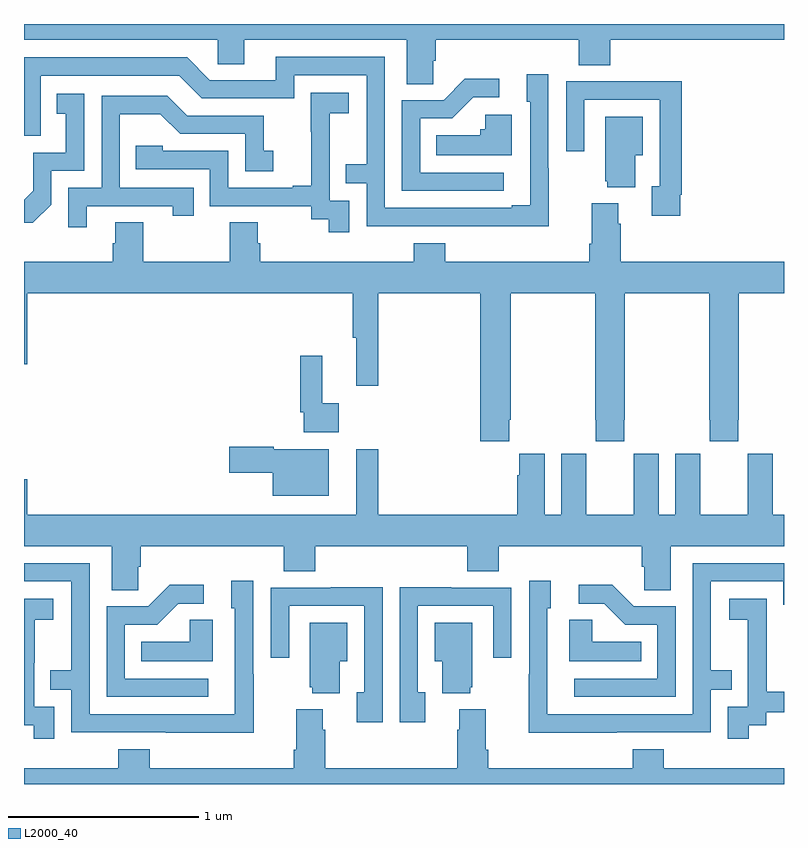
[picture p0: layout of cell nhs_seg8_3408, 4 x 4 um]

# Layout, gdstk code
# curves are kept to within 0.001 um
import gdstk
lib = gdstk.Library(unit=1e-6, precision=1e-09)
def P(c, l, *ps):  # polygons
    for p in ps: c.add(gdstk.Polygon(p, *l))
L2000_40 = (2000, 40)

nhs_seg8_3408 = lib.new_cell('nhs_seg8_3408')
P(nhs_seg8_3408, L2000_40, [(323.154,1133.707),(323.168,1133.707),(323.168,1133.816),(323.921,1133.816),(323.921,1133.683),(324.086,1133.683),(324.086,1133.816),(325,1133.816),(325,1133.9),(321,1133.9),(321,1133.816),(322.02,1133.816),(322.02,1133.689),(322.159,1133.689),(322.159,1133.816),(323.015,1133.816),(323.015,1133.584),(323.154,1133.584)],
  [(323.763,1133.141),(323.76,1133.141),(323.76,1133.635),(323.645,1133.635),(323.645,1133.49),(323.664,1133.49),(323.664,1132.945),(323.567,1132.945),(323.567,1132.932),(322.899,1132.932),(322.899,1133.727),(322.325,1133.727),(322.325,1133.604),(321.978,1133.604),(321.858,1133.724),(321,1133.724),(321,1133.313),(321.087,1133.313),(321.087,1133.628),(321.816,1133.628),(321.936,1133.508),(322.422,1133.508),(322.422,1133.631),(322.803,1133.631),(322.803,1133.162),(322.693,1133.162),(322.693,1133.061),(322.803,1133.061),(322.803,1132.836),(323.763,1132.835)],
  [(323.524,1133.118),(323.085,1133.118),(323.085,1133.403),(323.254,1133.403),(323.365,1133.514),(323.5,1133.514),(323.5,1133.612),(323.321,1133.612),(323.208,1133.499),(322.989,1133.499),(322.989,1133.022),(323.524,1133.022)],
  [(324.454,1133.002),(324.461,1133.002),(324.461,1133.6),(324.169,1133.6),(324.169,1133.598),(323.853,1133.598),(323.853,1133.229),(323.949,1133.229),(323.949,1133.502),(324.345,1133.502),(324.345,1133.046),(324.305,1133.046),(324.305,1132.89),(324.454,1132.89)],
  [(322.713,1132.971),(322.608,1132.971),(322.608,1133.201),(322.61,1133.201),(322.61,1133.429),(322.708,1133.429),(322.708,1133.539),(322.51,1133.539),(322.51,1133.333),(322.511,1133.333),(322.511,1133.05),(322.415,1133.05),(322.415,1133.037),(322.074,1133.037),(322.074,1133.232),(321.729,1133.232),(321.729,1133.259),(321.589,1133.259),(321.589,1133.136),(321.978,1133.136),(321.978,1132.941),(322.512,1132.941),(322.512,1132.873),(322.605,1132.873),(322.605,1132.803),(322.713,1132.803)],
  [(321.144,1132.95),(321.144,1133.127),(321.318,1133.127),(321.318,1133.533),(321.172,1133.533),(321.172,1133.427),(321.221,1133.427),(321.221,1133.223),(321.048,1133.223),(321.048,1133.022),(321,1132.974),(321,1132.853),(321.046,1132.853)],
  [(321.331,1132.941),(321.782,1132.941),(321.782,1132.89),(321.893,1132.89),(321.893,1133.037),(321.504,1133.037),(321.504,1133.426),(321.718,1133.426),(321.822,1133.322),(322.164,1133.322),(322.164,1133.124),(322.312,1133.124),(322.312,1133.233),(322.263,1133.233),(322.263,1133.418),(321.859,1133.418),(321.754,1133.523),(321.408,1133.523),(321.408,1133.037),(321.234,1133.037),(321.234,1132.83),(321.331,1132.83)],
  [(323.566,1133.422),(323.427,1133.422),(323.427,1133.346),(323.401,1133.346),(323.401,1133.314),(323.17,1133.314),(323.17,1133.21),(323.566,1133.21)],
  [(324.217,1133.21),(324.256,1133.21),(324.256,1133.413),(324.059,1133.413),(324.059,1133.073),(324.071,1133.073),(324.071,1133.042),(324.217,1133.042)],
  [(323.555,1131.817),(323.562,1131.817),(323.562,1132.484),(324.007,1132.484),(324.007,1131.817),(324.009,1131.817),(324.009,1131.705),(324.159,1131.705),(324.159,1131.817),(324.162,1131.817),(324.162,1132.484),(324.607,1132.484),(324.607,1131.817),(324.609,1131.817),(324.609,1131.705),(324.759,1131.705),(324.759,1131.817),(324.762,1131.817),(324.762,1132.484),(325,1132.484),(325,1132.648),(324.14,1132.648),(324.14,1132.85),(324.127,1132.85),(324.127,1132.957),(323.987,1132.957),(323.987,1132.744),(323.975,1132.744),(323.975,1132.648),(323.216,1132.648),(323.216,1132.747),(323.051,1132.747),(323.051,1132.648),(322.244,1132.648),(322.244,1132.746),(322.231,1132.746),(322.231,1132.856),(322.084,1132.856),(322.084,1132.648),(321.627,1132.648),(321.627,1132.856),(321.479,1132.856),(321.479,1132.746),(321.467,1132.746),(321.467,1132.648),(321,1132.648),(321,1132.11),(321.016,1132.11),(321.016,1132.484),(322.729,1132.484),(322.729,1132.248),(322.748,1132.248),(322.748,1131.996),(322.865,1131.996),(322.865,1132.484),(323.402,1132.484),(323.402,1131.705),(323.555,1131.705)],
  [(322.657,1131.905),(322.571,1131.905),(322.571,1132.153),(322.453,1132.153),(322.453,1131.856),(322.473,1131.856),(322.473,1131.752),(322.657,1131.752)],
  [(322.603,1131.661),(322.314,1131.661),(322.314,1131.674),(322.08,1131.674),(322.08,1131.539),(322.31,1131.539),(322.31,1131.416),(322.603,1131.416)],
  [(321.6,1131.043),(321.614,1131.043),(321.614,1131.152),(322.367,1131.152),(322.367,1131.019),(322.532,1131.019),(322.532,1131.152),(323.333,1131.152),(323.333,1131.019),(323.498,1131.019),(323.498,1131.152),(324.251,1131.152),(324.251,1131.043),(324.264,1131.043),(324.264,1130.92),(324.403,1130.92),(324.403,1131.152),(325,1131.152),(325,1131.316),(324.94,1131.316),(324.94,1131.637),(324.81,1131.637),(324.81,1131.524),(324.809,1131.524),(324.809,1131.316),(324.559,1131.316),(324.559,1131.524),(324.558,1131.524),(324.558,1131.637),(324.428,1131.637),(324.428,1131.316),(324.34,1131.316),(324.34,1131.637),(324.21,1131.637),(324.21,1131.524),(324.209,1131.524),(324.209,1131.316),(323.959,1131.316),(323.959,1131.524),(323.958,1131.524),(323.958,1131.637),(323.828,1131.637),(323.828,1131.316),(323.74,1131.316),(323.74,1131.637),(323.606,1131.637),(323.606,1131.524),(323.597,1131.524),(323.597,1131.316),(322.865,1131.316),(322.865,1131.661),(322.748,1131.661),(322.748,1131.316),(321.016,1131.316),(321.016,1131.505),(321,1131.505),(321,1131.152),(321.461,1131.152),(321.461,1130.92),(321.6,1130.92)],
  [(322.209,1130.477),(322.206,1130.477),(322.206,1130.971),(322.091,1130.971),(322.091,1130.826),(322.11,1130.826),(322.11,1130.268),(321.345,1130.268),(321.345,1131.063),(321,1131.063),(321,1130.967),(321.249,1130.967),(321.249,1130.498),(321.139,1130.498),(321.139,1130.397),(321.249,1130.397),(321.249,1130.172),(321.745,1130.172),(321.745,1130.171),(322.209,1130.171)],
  [(324.119,1130.172),(324.615,1130.172),(324.615,1130.397),(324.725,1130.397),(324.725,1130.498),(324.615,1130.498),(324.615,1130.967),(324.996,1130.967),(324.996,1130.844),(325,1130.844),(325,1131.063),(324.519,1131.063),(324.519,1130.268),(323.754,1130.268),(323.754,1130.826),(323.773,1130.826),(323.773,1130.971),(323.658,1130.971),(323.658,1130.477),(323.656,1130.477),(323.656,1130.171),(324.119,1130.171)],
  [(321.97,1130.454),(321.531,1130.454),(321.531,1130.739),(321.7,1130.739),(321.811,1130.85),(321.946,1130.85),(321.946,1130.948),(321.767,1130.948),(321.654,1130.835),(321.435,1130.835),(321.435,1130.358),(321.97,1130.358)],
  [(324.429,1130.835),(324.21,1130.835),(324.097,1130.948),(323.919,1130.948),(323.919,1130.85),(324.053,1130.85),(324.164,1130.739),(324.333,1130.739),(324.333,1130.454),(323.895,1130.454),(323.895,1130.358),(324.429,1130.358)],
  [(323.113,1130.382),(323.073,1130.382),(323.073,1130.838),(323.469,1130.838),(323.469,1130.565),(323.565,1130.565),(323.565,1130.934),(323.249,1130.934),(323.249,1130.936),(322.977,1130.936),(322.977,1130.226),(323.113,1130.226)],
  [(322.887,1130.936),(322.615,1130.936),(322.615,1130.934),(322.299,1130.934),(322.299,1130.565),(322.395,1130.565),(322.395,1130.838),(322.791,1130.838),(322.791,1130.382),(322.751,1130.382),(322.751,1130.226),(322.887,1130.226)],
  [(321.159,1130.307),(321.054,1130.307),(321.054,1130.537),(321.056,1130.537),(321.056,1130.765),(321.154,1130.765),(321.154,1130.875),(321,1130.875),(321,1130.209),(321.051,1130.209),(321.051,1130.139),(321.159,1130.139)],
  [(324.814,1130.209),(324.906,1130.209),(324.906,1130.277),(325,1130.277),(325,1130.386),(324.908,1130.386),(324.908,1130.669),(324.909,1130.669),(324.909,1130.875),(324.711,1130.875),(324.711,1130.765),(324.809,1130.765),(324.809,1130.537),(324.81,1130.537),(324.81,1130.307),(324.705,1130.307),(324.705,1130.139),(324.814,1130.139)],
  [(324.248,1130.65),(323.991,1130.65),(323.991,1130.765),(323.87,1130.765),(323.87,1130.546),(324.248,1130.546)],
  [(321.994,1130.765),(321.873,1130.765),(321.873,1130.65),(321.616,1130.65),(321.616,1130.546),(321.994,1130.546)],
  [(323.348,1130.409),(323.359,1130.409),(323.359,1130.749),(323.162,1130.749),(323.162,1130.546),(323.201,1130.546),(323.201,1130.378),(323.348,1130.378)],
  [(322.663,1130.546),(322.702,1130.546),(322.702,1130.749),(322.505,1130.749),(322.505,1130.409),(322.517,1130.409),(322.517,1130.378),(322.663,1130.378)],
  [(325,1129.984),(324.368,1129.984),(324.368,1130.083),(324.203,1130.083),(324.203,1129.984),(323.444,1129.984),(323.444,1130.08),(323.431,1130.08),(323.431,1130.293),(323.291,1130.293),(323.291,1130.186),(323.279,1130.186),(323.279,1129.984),(322.586,1129.984),(322.586,1130.186),(322.573,1130.186),(322.573,1130.293),(322.433,1130.293),(322.433,1130.08),(322.421,1130.08),(322.421,1129.984),(321.662,1129.984),(321.662,1130.083),(321.497,1130.083),(321.497,1129.984),(321,1129.984),(321,1129.9),(325,1129.9)])

lib.write_gds('nhs_seg8_3408.gds')
